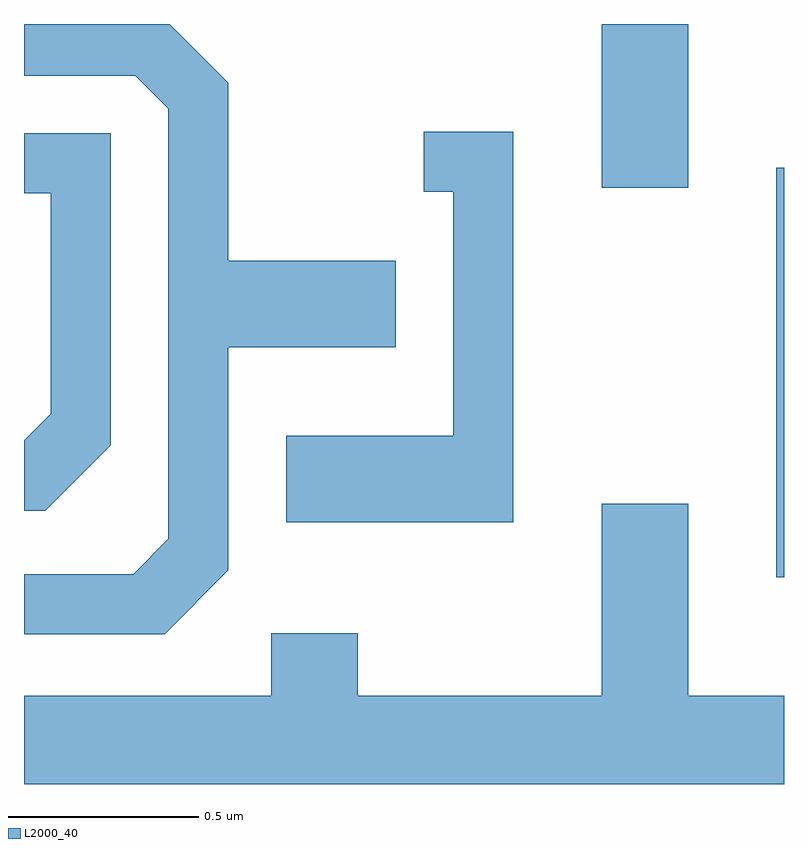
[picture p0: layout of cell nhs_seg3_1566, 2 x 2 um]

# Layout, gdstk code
import gdstk
lib = gdstk.Library(unit=1e-6, precision=1e-09)
def R(c, l, rs):  # rectangles x0, y0, x1, y1
    for r in rs: c.add(gdstk.rectangle(r[:2], r[2:], *l))
def P(c, l, *ps):  # polygons
    for p in ps: c.add(gdstk.Polygon(p, *l))
L2000_40 = (2000, 40)

nhs_seg3_1566 = lib.new_cell('nhs_seg3_1566')
R(nhs_seg3_1566, L2000_40, [(198.591,1175.436,198.611,1176.514), (198.131,1176.461,198.359,1176.892)])
P(nhs_seg3_1566, L2000_40, [(197.149,1175.454),(197.149,1176.041),(197.589,1176.041),(197.589,1176.269),(197.149,1176.269),(197.149,1176.737),(196.994,1176.892),(196.611,1176.892),(196.611,1176.756),(196.904,1176.756),(196.991,1176.669),(196.991,1175.537),(196.899,1175.444),(196.611,1175.444),(196.611,1175.286),(196.982,1175.286)],
  [(197.899,1176.609),(197.663,1176.609),(197.663,1176.451),(197.741,1176.451),(197.741,1175.809),(197.301,1175.809),(197.301,1175.581),(197.899,1175.581)],
  [(196.839,1175.784),(196.839,1176.604),(196.611,1176.604),(196.611,1176.446),(196.681,1176.446),(196.681,1175.867),(196.611,1175.796),(196.611,1175.611),(196.667,1175.611)],
  [(198.611,1175.124),(198.359,1175.124),(198.359,1175.629),(198.131,1175.629),(198.131,1175.124),(197.489,1175.124),(197.489,1175.289),(197.261,1175.289),(197.261,1175.124),(196.611,1175.124),(196.611,1174.892),(198.611,1174.892)])

lib.write_gds('nhs_seg3_1566.gds')
